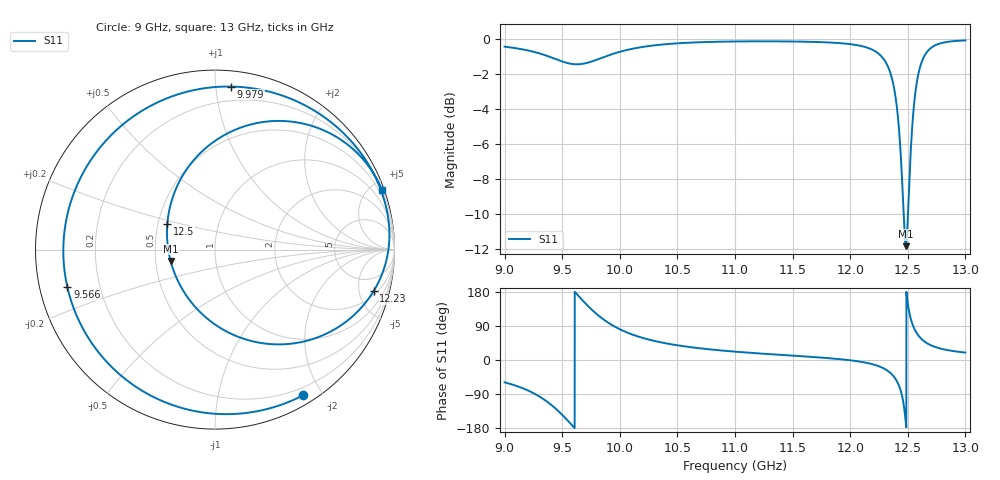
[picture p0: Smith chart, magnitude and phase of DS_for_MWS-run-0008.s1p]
! TOUCHSTONE file generated by CST DESIGN STUDIO
! Date and time: Tue Feb  4 13:25:51 2025
! Project name: C:\Work\MatlabApps\UnitCellOptimizationMatlab\CST\unitcell.cst
! Tree item: Tasks\Sweep1\SPara1\S-Parameters
! Header version: 2024
! Port assignment regex: !\s*Touchstone port\s*([0-9]+)\s*=\s*(CST MWS port|CST DES external port|CST DES block port)\s*(.+)\s* \(\"(.*)\"\)(\s*mode\s*([0-9]+))?.*
! Touchstone port assignment:
! Touchstone port 1 = CST DES external port 1 ("")
# GHz S MA R 50
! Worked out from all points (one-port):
!   4001 points, 9 GHz to 13 GHz, reference 50 ohm
!   lowest |S11| = -11.9 dB at 12.48 GHz (marker M1), VSWR 1.69, Z = 30 - j4.04 ohm
!   |S11| at or under -10 dB: 12.46354 GHz to 12.50151 GHz (37.96 MHz wide, 0.304 % of centre)
!   S11 on the Smith chart (normalised r, x): 9 GHz: 0.11, -1.76; 9.566 GHz: 0.08, -0.12; 9.979 GHz: 0.10, +1.10; 12.23 GHz: 2.47, -6.90; 12.5 GHz: 0.56, +0.18; 13 GHz: 0.20, +5.77
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9  0.9487 -59.0
9.161  0.9312 -75.0
9.312  0.9056 -98.2
9.41  0.8826 -119.7
9.5  0.8605 -144.7
9.566  0.8487 -165.7
9.661  0.8459 162.5
9.775  0.8647 127.7
9.868  0.8876 104.9
9.979  0.9129 84.3
10  0.9171 81.1
10.217  0.949 56.7
10.5  0.9696 38.8
11  0.9816 22.0
11.5  0.9814 11.5
12  0.9645 -0.7
12.232  0.9136 -14.7
12.338  0.8168 -31.3
12.411  0.6124 -59.3
12.447  0.4159 -90.3
12.483  0.2553 -165.7
12.499  0.3024 151.4
12.5  0.3078 149.2
12.544  0.5936 91.7
12.591  0.7906 65.0
12.649  0.8984 47.8
12.725  0.9523 35.8
13  0.9882 19.7
